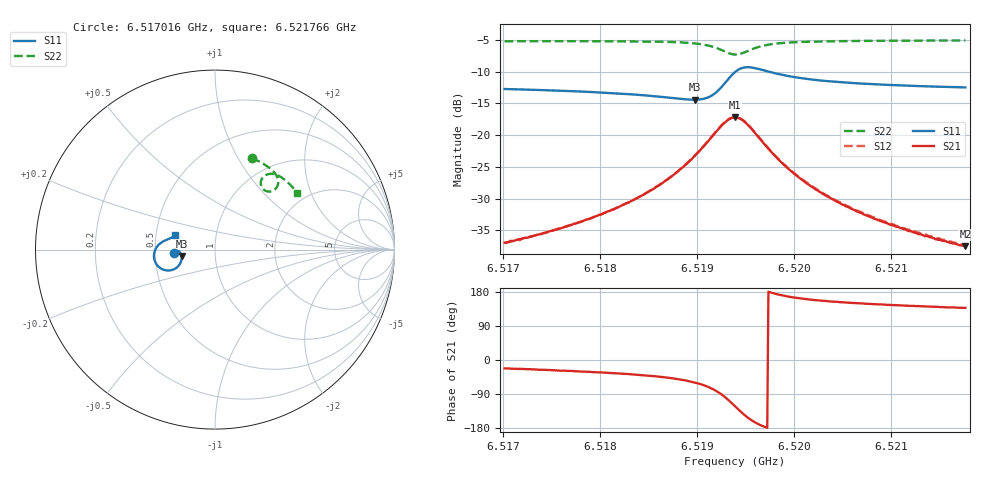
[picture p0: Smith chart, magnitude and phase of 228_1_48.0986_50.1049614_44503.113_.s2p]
#  HZ  S  RI  R  50.00
! Rohde & Schwarz Vector Network Analyzer
! Rohde-Schwarz,ZNB20-2Port,1311601062101988,3.16
! Created: UTC 12/23/2023, 3:57:28 AM
! freq[Hz]  re:S11  im:S11  re:S21  im:S21  re:S12  im:S12  re:S22  im:S22
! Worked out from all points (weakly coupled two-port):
!   401 points, 6.517016 GHz to 6.521766 GHz, reference 50 ohm
!   highest |S21| = -17.22 dB at 6.519391 GHz (marker M1); lowest = -37.5 dB at 6.521766 GHz (marker M2)
!   lowest |S11| = -14.4 dB at 6.518975 GHz (marker M3), VSWR 1.47, Z = 34.2 - j2.52 ohm
!   |S11| at or under -10 dB: start of sweep to 6.519397 GHz; 6.519737 GHz to end of sweep
!   |S22| runs from -7.3 to -5.1 dB; largest |S21 - S12| = 0.0042
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6.5170158e9  -0.2301 -0.0168  0.0132 -0.00541  0.0133 -0.00493  0.2042 0.5088
6.5174196e9  -0.2257 -0.0108  0.0153 -0.00741  0.0155 -0.00684  0.234 0.4964
6.5178115e9  -0.22 -0.0064  0.018 -0.0106  0.0185 -0.00997  0.263 0.4816
6.5182865e9  -0.2103 -0.00446  0.0234 -0.0178  0.0239 -0.017  0.2987 0.4589
6.5186071e9  -0.2007 -0.00904  0.0289 -0.028  0.0301 -0.0272  0.3235 0.4373
6.5187971e9  -0.1932 -0.0176  0.0329 -0.0397  0.0344 -0.0387  0.3382 0.4195
6.5189752e9  -0.1866 -0.0355  0.035 -0.059  0.037 -0.0582  0.3497 0.3947
6.5190821e9  -0.1867 -0.055  0.0317 -0.0779  0.0345 -0.0773  0.3523 0.3734
6.5191652e9  -0.1937 -0.0765  0.0221 -0.0971  0.0252 -0.0973  0.3474 0.3532
6.5192958e9  -0.2363 -0.1126  -0.0213 -0.1258  -0.0178 -0.1275  0.3145 0.3247
6.5193433e9  -0.264 -0.1165  -0.047 -0.1266  -0.0437 -0.1288  0.2944 0.3238
6.5193908e9  -0.294 -0.1092  -0.073 -0.1168  -0.0701 -0.1198  0.2744 0.3319
6.5194383e9  -0.319 -0.0905  -0.0932 -0.0978  -0.0911 -0.1014  0.2605 0.3481
6.5194977e9  -0.3368 -0.059  -0.1054 -0.0685  -0.1043 -0.0721  0.2549 0.3723
6.5196046e9  -0.3359 -0.00867  -0.0992 -0.0254  -0.0995 -0.0286  0.2695 0.4053
6.5196996e9  -0.3215 0.0185  -0.0838 -0.00475  -0.0844 -0.00732  0.2899 0.4184
6.5199133e9  -0.2912 0.0441  -0.0557 0.0111  -0.0566 0.00975  0.3279 0.4207
6.5201864e9  -0.2682 0.0551  -0.0364 0.0142  -0.0373 0.0132  0.3602 0.4083
6.5205071e9  -0.2528 0.0612  -0.025 0.0132  -0.0257 0.0127  0.3873 0.3901
6.5209821e9  -0.2388 0.0682  -0.0164 0.0113  -0.017 0.011  0.4183 0.3622
6.521457e9  -0.2293 0.0747  -0.0117 0.00965  -0.0122 0.00963  0.444 0.3332
6.5217658e9  -0.224 0.0789  -0.00988 0.00902  -0.0102 0.00888  0.459 0.314
